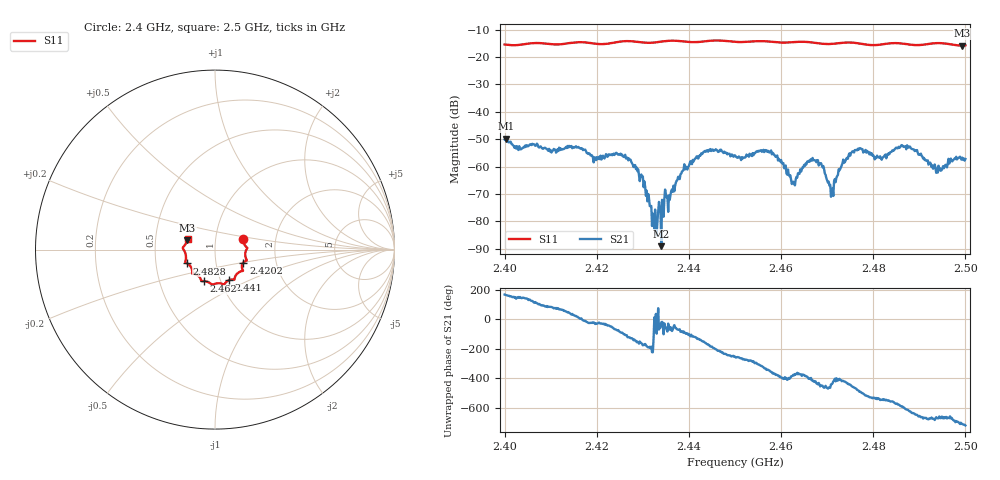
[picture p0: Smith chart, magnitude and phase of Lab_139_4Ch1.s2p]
# Hz S RI R 50
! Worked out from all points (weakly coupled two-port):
!   601 points, 2.4 GHz to 2.5 GHz, reference 50 ohm
!   highest |S21| = -49.82 dB at 2.4003 GHz (marker M1); lowest = -89.1 dB at 2.434 GHz (marker M2)
!   lowest |S11| = -15.8 dB at 2.4993 GHz (marker M3), VSWR 1.39, Z = 36.5 + j3.89 ohm
!   |S11| at or under -10 dB: start of sweep to end of sweep
!   S12 and S22 are empty: the file has one direction only
!   S11 on the Smith chart (normalised r, x): 2.4 GHz: 1.36, +0.17; 2.4202 GHz: 1.36, -0.20; 2.441 GHz: 1.10, -0.39; 2.462 GHz: 0.84, -0.30; 2.4828 GHz: 0.72, -0.11; 2.5 GHz: 0.73, +0.09
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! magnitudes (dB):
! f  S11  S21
! 2.4 GHz  -15.4  -50.1
! 2.4003 GHz  -15.5  -49.8
! 2.4167 GHz  -14.6  -53.3
! 2.4202 GHz  -15.2  -57.4
! 2.427 GHz  -14.2  -57.1
! 2.43 GHz  -14.7  -63.6
! 2.4325 GHz  -14.7  -82.8
! 2.4333 GHz  -14.5  -76.5
! 2.434 GHz  -14.3  -89.1
! 2.441 GHz  -14.6  -58.2
! 2.45 GHz  -14.4  -55.9
! 2.4573 GHz  -14.3  -54.7
! 2.462 GHz  -14.6  -63.2
! 2.4667 GHz  -14.6  -57.9
! 2.4708 GHz  -15.2  -71.1
! 2.4757 GHz  -14.7  -54.7
! 2.4828 GHz  -15.1  -57.0
! 2.4833 GHz  -15.0  -55.2
! 2.4878 GHz  -15.4  -52.7
! 2.4942 GHz  -14.9  -59.7
! 2.4993 GHz  -15.8  -56.8
! 2.5 GHz  -15.7  -57.3
